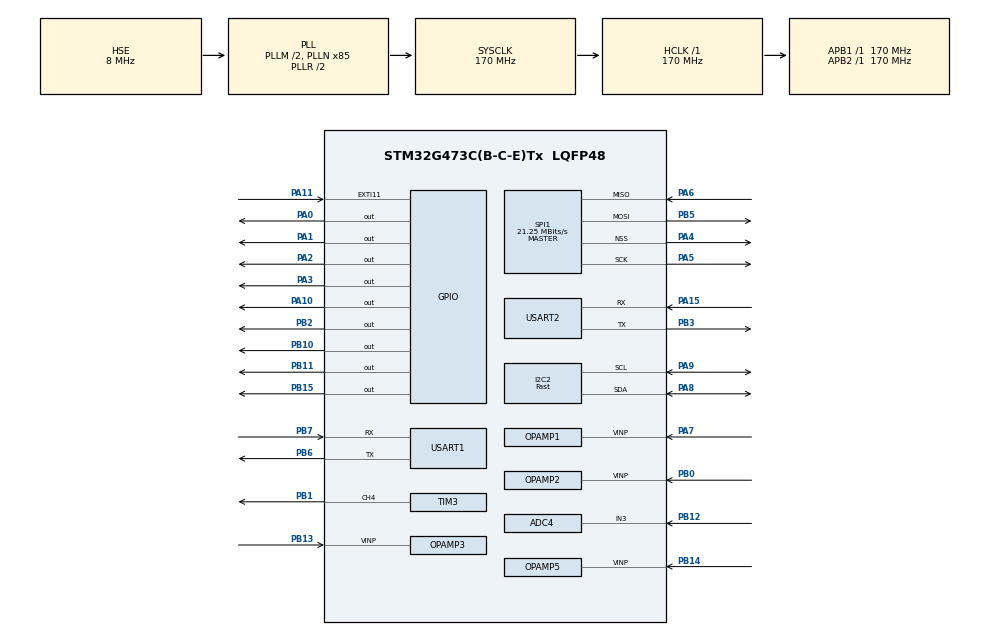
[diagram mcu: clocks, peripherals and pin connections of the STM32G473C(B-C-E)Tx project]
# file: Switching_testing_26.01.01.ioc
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ADC1.Channel-2\#ChannelRegularConversion=ADC_CHANNEL_VOPAMP1
ADC1.ContinuousConvMode=ENABLE
ADC1.DMAContinuousRequests=ENABLE
ADC1.EOCSelection=ADC_EOC_SEQ_CONV
ADC1.NbrOfConversion=1
ADC1.NbrOfConversionFlag=1
ADC1.OffsetNumber-2\#ChannelRegularConversion=ADC_OFFSET_NONE
ADC1.Overrun=ADC_OVR_DATA_OVERWRITTEN
ADC1.OversamplingMode=ENABLE
ADC1.Rank-2\#ChannelRegularConversion=1
ADC1.Ratio=ADC_OVERSAMPLING_RATIO_4
ADC1.RightBitShift=ADC_RIGHTBITSHIFT_NONE
ADC1.SamplingTime-2\#ChannelRegularConversion=ADC_SAMPLETIME_640CYCLES_5
ADC1.master=1
ADC2.Channel-4\#ChannelRegularConversion=ADC_CHANNEL_VOPAMP2
ADC2.ContinuousConvMode=ENABLE
ADC2.DMAContinuousRequests=ENABLE
ADC2.NbrOfConversionFlag=1
ADC2.OffsetNumber-4\#ChannelRegularConversion=ADC_OFFSET_NONE
ADC2.Overrun=ADC_OVR_DATA_OVERWRITTEN
ADC2.OversamplingMode=ENABLE
ADC2.Rank-4\#ChannelRegularConversion=1
ADC2.Ratio=ADC_OVERSAMPLING_RATIO_4
ADC2.RightBitShift=ADC_RIGHTBITSHIFT_NONE
ADC2.SamplingTime-4\#ChannelRegularConversion=ADC_SAMPLETIME_640CYCLES_5
ADC3.Channel-1\#ChannelRegularConversion=ADC_CHANNEL_VOPAMP3_ADC3
ADC3.ContinuousConvMode=ENABLE
ADC3.DMAContinuousRequests=DISABLE
ADC3.NbrOfConversionFlag=1
ADC3.OffsetNumber-1\#ChannelRegularConversion=ADC_OFFSET_NONE
ADC3.Rank-1\#ChannelRegularConversion=1
ADC3.SamplingTime-1\#ChannelRegularConversion=ADC_SAMPLETIME_24CYCLES_5
ADC3.master=1
ADC4.Channel-0\#ChannelRegularConversion=ADC_CHANNEL_3
ADC4.NbrOfConversionFlag=1
ADC4.OffsetNumber-0\#ChannelRegularConversion=ADC_OFFSET_NONE
ADC4.Rank-0\#ChannelRegularConversion=1
ADC4.SamplingTime-0\#ChannelRegularConversion=ADC_SAMPLETIME_24CYCLES_5
ADC5.Channel-0\#ChannelRegularConversion=ADC_CHANNEL_VOPAMP5
ADC5.ContinuousConvMode=ENABLE
ADC5.NbrOfConversion=1
ADC5.NbrOfConversionFlag=1
ADC5.OffsetNumber-0\#ChannelRegularConversion=ADC_OFFSET_NONE
ADC5.Rank-0\#ChannelRegularConversion=1
ADC5.SamplingTime-0\#ChannelRegularConversion=ADC_SAMPLETIME_24CYCLES_5
Dma.ADC1.4.Direction=DMA_PERIPH_TO_MEMORY
Dma.ADC1.4.EventEnable=DISABLE
Dma.ADC1.4.Instance=DMA1_Channel1
Dma.ADC1.4.MemDataAlignment=DMA_MDATAALIGN_HALFWORD
Dma.ADC1.4.MemInc=DMA_MINC_ENABLE
Dma.ADC1.4.Mode=DMA_NORMAL
Dma.ADC1.4.PeriphDataAlignment=DMA_PDATAALIGN_HALFWORD
Dma.ADC1.4.PeriphInc=DMA_PINC_DISABLE
Dma.ADC1.4.Polarity=HAL_DMAMUX_REQ_GEN_RISING
Dma.ADC1.4.Priority=DMA_PRIORITY_LOW
Dma.ADC1.4.RequestNumber=1
Dma.ADC1.4.SignalID=NONE
Dma.ADC1.4.SyncEnable=DISABLE
Dma.ADC1.4.SyncPolarity=HAL_DMAMUX_SYNC_NO_EVENT
Dma.ADC1.4.SyncRequestNumber=1
Dma.ADC1.4.SyncSignalID=NONE
Dma.ADC2.1.Direction=DMA_PERIPH_TO_MEMORY
Dma.ADC2.1.EventEnable=DISABLE
Dma.ADC2.1.Instance=DMA1_Channel2
Dma.ADC2.1.MemDataAlignment=DMA_MDATAALIGN_HALFWORD
Dma.ADC2.1.MemInc=DMA_MINC_ENABLE
Dma.ADC2.1.Mode=DMA_NORMAL
Dma.ADC2.1.PeriphDataAlignment=DMA_PDATAALIGN_HALFWORD
Dma.ADC2.1.PeriphInc=DMA_PINC_DISABLE
Dma.ADC2.1.Polarity=HAL_DMAMUX_REQ_GEN_RISING
Dma.ADC2.1.Priority=DMA_PRIORITY_LOW
Dma.ADC2.1.RequestNumber=1
Dma.ADC2.1.SignalID=NONE
Dma.ADC2.1.SyncEnable=DISABLE
Dma.ADC2.1.SyncPolarity=HAL_DMAMUX_SYNC_NO_EVENT
Dma.ADC2.1.SyncRequestNumber=1
Dma.ADC2.1.SyncSignalID=NONE
Dma.ADC3.2.Direction=DMA_PERIPH_TO_MEMORY
Dma.ADC3.2.EventEnable=DISABLE
Dma.ADC3.2.Instance=DMA1_Channel3
Dma.ADC3.2.MemDataAlignment=DMA_MDATAALIGN_HALFWORD
Dma.ADC3.2.MemInc=DMA_MINC_ENABLE
Dma.ADC3.2.Mode=DMA_NORMAL
Dma.ADC3.2.PeriphDataAlignment=DMA_PDATAALIGN_HALFWORD
Dma.ADC3.2.PeriphInc=DMA_PINC_DISABLE
Dma.ADC3.2.Polarity=HAL_DMAMUX_REQ_GEN_RISING
Dma.ADC3.2.Priority=DMA_PRIORITY_LOW
Dma.ADC3.2.RequestNumber=1
Dma.ADC3.2.SignalID=NONE
Dma.ADC3.2.SyncEnable=DISABLE
Dma.ADC3.2.SyncPolarity=HAL_DMAMUX_SYNC_NO_EVENT
Dma.ADC3.2.SyncRequestNumber=1
Dma.ADC3.2.SyncSignalID=NONE
Dma.ADC5.3.Direction=DMA_PERIPH_TO_MEMORY
Dma.ADC5.3.EventEnable=DISABLE
Dma.ADC5.3.Instance=DMA1_Channel5
Dma.ADC5.3.MemDataAlignment=DMA_MDATAALIGN_HALFWORD
Dma.ADC5.3.MemInc=DMA_MINC_ENABLE
Dma.ADC5.3.Mode=DMA_NORMAL
Dma.ADC5.3.PeriphDataAlignment=DMA_PDATAALIGN_HALFWORD
Dma.ADC5.3.PeriphInc=DMA_PINC_DISABLE
Dma.ADC5.3.Polarity=HAL_DMAMUX_REQ_GEN_RISING
Dma.ADC5.3.Priority=DMA_PRIORITY_LOW
Dma.ADC5.3.RequestNumber=1
Dma.ADC5.3.SignalID=NONE
Dma.ADC5.3.SyncEnable=DISABLE
Dma.ADC5.3.SyncPolarity=HAL_DMAMUX_SYNC_NO_EVENT
Dma.ADC5.3.SyncRequestNumber=1
Dma.ADC5.3.SyncSignalID=NONE
Dma.I2C2_RX.0.Direction=DMA_PERIPH_TO_MEMORY
Dma.I2C2_RX.0.EventEnable=DISABLE
Dma.I2C2_RX.0.Instance=DMA2_Channel1
Dma.I2C2_RX.0.MemDataAlignment=DMA_MDATAALIGN_BYTE
Dma.I2C2_RX.0.MemInc=DMA_MINC_ENABLE
Dma.I2C2_RX.0.Mode=DMA_NORMAL
Dma.I2C2_RX.0.PeriphDataAlignment=DMA_PDATAALIGN_BYTE
Dma.I2C2_RX.0.PeriphInc=DMA_PINC_DISABLE
Dma.I2C2_RX.0.Polarity=HAL_DMAMUX_REQ_GEN_RISING
Dma.I2C2_RX.0.Priority=DMA_PRIORITY_LOW
Dma.I2C2_RX.0.RequestNumber=1
Dma.I2C2_RX.0.SignalID=NONE
Dma.I2C2_RX.0.SyncEnable=DISABLE
Dma.I2C2_RX.0.SyncPolarity=HAL_DMAMUX_SYNC_NO_EVENT
Dma.I2C2_RX.0.SyncRequestNumber=1
Dma.I2C2_RX.0.SyncSignalID=NONE
Dma.Request0=I2C2_RX
Dma.Request1=ADC2
Dma.Request2=ADC3
Dma.Request3=ADC5
Dma.Request4=ADC1
Dma.Request5=USART2_TX
Dma.USART2_TX.5.Direction=DMA_MEMORY_TO_PERIPH
Dma.USART2_TX.5.EventEnable=DISABLE
Dma.USART2_TX.5.Instance=DMA1_Channel4
Dma.USART2_TX.5.MemDataAlignment=DMA_MDATAALIGN_BYTE
Dma.USART2_TX.5.MemInc=DMA_MINC_ENABLE
Dma.USART2_TX.5.Mode=DMA_NORMAL
Dma.USART2_TX.5.PeriphDataAlignment=DMA_PDATAALIGN_BYTE
Dma.USART2_TX.5.PeriphInc=DMA_PINC_DISABLE
Dma.USART2_TX.5.Polarity=HAL_DMAMUX_REQ_GEN_RISING
Dma.USART2_TX.5.Priority=DMA_PRIORITY_LOW
Dma.USART2_TX.5.RequestNumber=1
Dma.USART2_TX.5.SignalID=NONE
Dma.USART2_TX.5.SyncEnable=DISABLE
Dma.USART2_TX.5.SyncPolarity=HAL_DMAMUX_SYNC_NO_EVENT
Dma.USART2_TX.5.SyncRequestNumber=1
Dma.USART2_TX.5.SyncSignalID=NONE
I2C2.I2C_Speed_Mode=I2C_Fast
I2C2.Speed=100
I2C2.Timing=0x406248FF
Mcu.Family=STM32G4
Mcu.Name=STM32G473C(B-C-E)Tx
Mcu.Package=LQFP48
NVIC.DMA1_Channel1_IRQn=true\:0\:0\:false\:false\:true\:false\:true\:true
NVIC.DMA1_Channel2_IRQn=true\:0\:0\:false\:false\:true\:false\:true\:true
NVIC.DMA1_Channel3_IRQn=true\:0\:0\:false\:false\:true\:false\:true\:true
NVIC.DMA1_Channel4_IRQn=true\:0\:0\:false\:false\:true\:false\:true\:true
NVIC.DMA1_Channel5_IRQn=true\:0\:0\:false\:false\:true\:false\:true\:true
NVIC.DMA2_Channel1_IRQn=true\:0\:0\:false\:false\:true\:false\:true\:true
NVIC.EXTI15_10_IRQn=true\:1\:0\:true\:false\:true\:true\:true\:true
NVIC.I2C2_ER_IRQn=true\:0\:0\:false\:false\:true\:true\:true\:true
NVIC.I2C2_EV_IRQn=true\:0\:0\:false\:false\:true\:true\:true\:true
NVIC.PriorityGroup=NVIC_PRIORITYGROUP_4
NVIC.TIM6_DAC_IRQn=true\:0\:0\:false\:false\:true\:true\:true\:true
NVIC.TIM7_DAC_IRQn=true\:0\:0\:false\:false\:true\:true\:true\:true
OPAMP1.PgaGain=OPAMP_PGA_GAIN_2_OR_MINUS_1
OPAMP1.PowerMode=OPAMP_POWERMODE_HIGHSPEED
OPAMP2.PowerMode=OPAMP_POWERMODE_HIGHSPEED
OPAMP3.PgaGain=OPAMP_PGA_GAIN_2_OR_MINUS_1
OPAMP3.PowerMode=OPAMP_POWERMODE_HIGHSPEED
OPAMP5.PgaGain=OPAMP_PGA_GAIN_2_OR_MINUS_1
OPAMP5.PowerMode=OPAMP_POWERMODE_HIGHSPEED
PA0.PinState=GPIO_PIN_RESET
PA0.Signal=GPIO_Output
PA1.Signal=GPIO_Output
PA10.Signal=GPIO_Output
PA11.GPIO_ModeDefaultEXTI=GPIO_MODE_IT_FALLING
PA11.GPIO_PuPd=GPIO_NOPULL
PA11.Signal=GPXTI11
PA13.Mode=Serial_Wire
PA13.Signal=SYS_JTMS-SWDIO
PA14.Mode=Serial_Wire
PA14.Signal=SYS_JTCK-SWCLK
PA15.Mode=Asynchronous
PA15.Signal=USART2_RX
PA2.Signal=GPIO_Output
PA3.Signal=GPIO_Output
PA4.Mode=NSS_Signal_Hard_Output
PA4.Signal=SPI1_NSS
PA5.Mode=Full_Duplex_Master
PA5.Signal=SPI1_SCK
PA6.Mode=Full_Duplex_Master
PA6.Signal=SPI1_MISO
PA7.Mode=PGA_Internally_Connected
PA7.Signal=OPAMP1_VINP
PA8.Mode=I2C
PA8.Signal=I2C2_SDA
PA9.Mode=I2C
PA9.Signal=I2C2_SCL
PB0.Mode=PGA_Internally_Connected
PB0.Signal=OPAMP2_VINP
PB1.GPIO_Speed=GPIO_SPEED_FREQ_VERY_HIGH
PB1.Signal=S_TIM3_CH4
PB10.Signal=GPIO_Output
PB11.Signal=GPIO_Output
PB12.Mode=IN3-Single-Ended
PB12.Signal=ADC4_IN3
PB13.Mode=PGA_Internally_Connected
PB13.Signal=OPAMP3_VINP
PB14.Mode=PGA_Internally_Connected
PB14.Signal=OPAMP5_VINP
PB15.Signal=GPIO_Output
PB2.Signal=GPIO_Output
PB3.Mode=Asynchronous
PB3.Signal=USART2_TX
PB5.Mode=Full_Duplex_Master
PB5.Signal=SPI1_MOSI
PB6.Mode=Asynchronous
PB6.Signal=USART1_TX
PB7.Mode=Asynchronous
PB7.Signal=USART1_RX
PF0-OSC_IN.Mode=HSE-External-Oscillator
PF0-OSC_IN.Signal=RCC_OSC_IN
PF1-OSC_OUT.Mode=HSE-External-Oscillator
PF1-OSC_OUT.Signal=RCC_OSC_OUT
ProjectManager.HeapSize=0x200
ProjectManager.StackSize=0x400
ProjectManager.TargetToolchain=STM32CubeIDE
RCC.ADC12Freq_Value=170000000
RCC.ADC345Freq_Value=170000000
RCC.AHBFreq_Value=170000000
RCC.APB1Freq_Value=170000000
RCC.APB1TimFreq_Value=170000000
RCC.APB2Freq_Value=170000000
RCC.APB2TimFreq_Value=170000000
RCC.CortexFreq_Value=170000000
RCC.EXTERNAL_CLOCK_VALUE=12288000
RCC.HCLKFreq_Value=170000000
RCC.HSE_VALUE=8000000
RCC.HSI48_VALUE=48000000
RCC.HSI_VALUE=16000000
RCC.LSE_VALUE=32768
RCC.PLLM=RCC_PLLM_DIV2
RCC.PLLN=85
RCC.PLLSourceVirtual=RCC_PLLSOURCE_HSE
RCC.SYSCLKFreq_VALUE=170000000
RCC.SYSCLKSource=RCC_SYSCLKSOURCE_PLLCLK
RCC.USBFreq_Value=170000000
RCC.VCOOutputFreq_Value=340000000
SH.S_TIM3_CH4.0=TIM3_CH4,PWM Generation4 CH4
SPI1.BaudRatePrescaler=SPI_BAUDRATEPRESCALER_8
SPI1.CalculateBaudRate=21.25 MBits/s
SPI1.DataSize=SPI_DATASIZE_8BIT
SPI1.Direction=SPI_DIRECTION_2LINES
SPI1.Mode=SPI_MODE_MASTER
SPI1.VirtualNSS=VM_NSSHARD
SPI1.VirtualType=VM_MASTER
TIM3.Channel-PWM\ Generation4\ CH4=TIM_CHANNEL_4
TIM3.PeriodNoDither=16
TIM3.PulseNoDither_4=8
TIM6.Prescaler=169
TIM7.Prescaler=169
USART1.VirtualMode-Asynchronous=VM_ASYNC
USART2.VirtualMode-Asynchronous=VM_ASYNC
VP_ADC1_OPAMP_INTERNAL1.Mode=IN-OPAMP1
VP_ADC2_OPAMP_INTERNAL2.Mode=IN-OPAMP2
VP_ADC3_OPAMP_INTERNAL3.Mode=IN-OPAMP3
VP_ADC5_OPAMP_INTERNAL5.Mode=IN-OPAMP5
VP_SYS_VS_DBSignals.Mode=DisableDeadBatterySignals
VP_TIM6_VS_ClockSourceINT.Mode=Enable_Timer
VP_TIM7_VS_ClockSourceINT.Mode=Enable_Timer
board=custom

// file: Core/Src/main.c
/* USER CODE BEGIN Header */
/**
  ******************************************************************************
  * @file           : main.c
  * @brief          : Main program body
  ******************************************************************************
  * @attention
  *
  * Copyright (c) 2025 STMicroelectronics.
  * All rights reserved.
  *
  * This software is licensed under terms that can be found in the LICENSE file
  * in the root directory of this software component.
  * If no LICENSE file comes with this software, it is provided AS-IS.
  *
  ******************************************************************************
  */
/* USER CODE END Header */
#include "main.h"
#include "adc.h"
#include "dma.h"
#include "i2c.h"
#include "opamp.h"
#include "spi.h"
#include "tim.h"
#include "usart.h"
#include "gpio.h"

/* USER CODE BEGIN Includes */
#include <stdio.h>
#include <string.h>
#include <TDM.h>
/* USER CODE END Includes */

/* USER CODE BEGIN PV */
volatile uint8_t uart_tx_busy = 0;
extern volatile TDM_State_t tdm_state;

uint32_t idle_counter = 0;//테스트용 삭제
uint32_t last_tick = 0;//테스트용 삭제

/* USER CODE END PV */

void SystemClock_Config(void);

int main(void)
{

  /* MCU Configuration--------------------------------------------------------*/

  /* Reset of all peripherals, Initializes the Flash interface and the Systick. */
  HAL_Init();

  /* Configure the system clock */
  SystemClock_Config();

  /* Initialize all configured peripherals */
  MX_GPIO_Init();
  MX_DMA_Init();
  MX_ADC3_Init();
  MX_USART1_UART_Init();
  MX_USART2_UART_Init();
  MX_ADC5_Init();
  MX_OPAMP1_Init();
  MX_OPAMP3_Init();
  MX_OPAMP5_Init();
  MX_ADC1_Init();
  MX_ADC2_Init();
  MX_ADC4_Init();
  MX_I2C2_Init();
  MX_OPAMP2_Init();
  MX_SPI1_Init();
  MX_TIM3_Init();
  MX_TIM6_Init();
  MX_TIM7_Init();
  /* USER CODE BEGIN 2 */
  HAL_GPIO_WritePin(GPIOA, GPIO_PIN_0, GPIO_PIN_SET); //전원 LED

  HAL_ADCEx_Calibration_Start(&hadc1, ADC_SINGLE_ENDED);
  HAL_ADCEx_Calibration_Start(&hadc2, ADC_SINGLE_ENDED);
  HAL_ADCEx_Calibration_Start(&hadc3, ADC_SINGLE_ENDED);
  HAL_ADCEx_Calibration_Start(&hadc5, ADC_SINGLE_ENDED);
  HAL_OPAMP_SelfCalibrate(&hopamp1);
  HAL_OPAMP_SelfCalibrate(&hopamp2);
  HAL_OPAMP_SelfCalibrate(&hopamp3);
  HAL_OPAMP_SelfCalibrate(&hopamp5);
  HAL_OPAMP_Start(&hopamp1);
  HAL_OPAMP_Start(&hopamp2);
  HAL_OPAMP_Start(&hopamp3);
  HAL_OPAMP_Start(&hopamp5);

  TDM_Init();

  printf("--- System Boot ---\r\n");

  /* USER CODE END 2 */

  /* Infinite loop */
  while (1)
  {

    /* USER CODE BEGIN 3 */

	  if(g_SensorData.update_flag == 1 && (uart_tx_busy == 0)){
		  g_SensorData.update_flag = 0;
		  uart_tx_busy = 1;
//		  TDM_Print_Calibrated_Data();
//		  TDM_Print_Calibrated_Data3();
//		  TDM_Print_Calibrated_Data4();
		  TDM_Print_Filter_Comparison();

		  uart_tx_busy = 0;
	  }

	  //메인 코어 점유율 검사////////////////////////////////////////
//	  idle_counter++;
//	  if (HAL_GetTick() - last_tick >= 1000) {
//		  last_tick = HAL_GetTick();
//		  printf("CPU Idle Count: %lu\r\n", idle_counter);
//		  idle_counter = 0;
//	  }
//	  if (g_SensorData.update_flag == 1) {
//		  g_SensorData.update_flag = 0;
//	  }
	  ////////////////////////////////////////////////////////////

  }
  /* USER CODE END 3 */
}

void SystemClock_Config(void)
{
  RCC_OscInitTypeDef RCC_OscInitStruct = {0};
  RCC_ClkInitTypeDef RCC_ClkInitStruct = {0};

  /** Configure the main internal regulator output voltage
  */
  HAL_PWREx_ControlVoltageScaling(PWR_REGULATOR_VOLTAGE_SCALE1_BOOST);

  /** Initializes the RCC Oscillators according to the specified parameters
  * in the RCC_OscInitTypeDef structure.
  */
  RCC_OscInitStruct.OscillatorType = RCC_OSCILLATORTYPE_HSE;
  RCC_OscInitStruct.HSEState = RCC_HSE_ON;
  RCC_OscInitStruct.PLL.PLLState = RCC_PLL_ON;
  RCC_OscInitStruct.PLL.PLLSource = RCC_PLLSOURCE_HSE;
  RCC_OscInitStruct.PLL.PLLM = RCC_PLLM_DIV2;
  RCC_OscInitStruct.PLL.PLLN = 85;
  RCC_OscInitStruct.PLL.PLLP = RCC_PLLP_DIV2;
  RCC_OscInitStruct.PLL.PLLQ = RCC_PLLQ_DIV2;
  RCC_OscInitStruct.PLL.PLLR = RCC_PLLR_DIV2;
  if (HAL_RCC_OscConfig(&RCC_OscInitStruct) != HAL_OK)
  {
    Error_Handler();
  }

  /** Initializes the CPU, AHB and APB buses clocks
  */
  RCC_ClkInitStruct.ClockType = RCC_CLOCKTYPE_HCLK|RCC_CLOCKTYPE_SYSCLK
                              |RCC_CLOCKTYPE_PCLK1|RCC_CLOCKTYPE_PCLK2;
  RCC_ClkInitStruct.SYSCLKSource = RCC_SYSCLKSOURCE_PLLCLK;
  RCC_ClkInitStruct.AHBCLKDivider = RCC_SYSCLK_DIV1;
  RCC_ClkInitStruct.APB1CLKDivider = RCC_HCLK_DIV1;
  RCC_ClkInitStruct.APB2CLKDivider = RCC_HCLK_DIV1;

  if (HAL_RCC_ClockConfig(&RCC_ClkInitStruct, FLASH_LATENCY_4) != HAL_OK)
  {
    Error_Handler();
  }
}

/* USER CODE BEGIN 4 */

int _write(int file, char *ptr, int len) {
    HAL_UART_Transmit(&huart2, (uint8_t *)ptr, len, 10);
//    HAL_UART_Transmit_DMA(&huart2, (uint8_t *)ptr, len);
    return len;
}

/* 1. LDC 인터럽트 (PA11 -> EXTI15_10) */
void HAL_GPIO_EXTI_Callback(uint16_t GPIO_Pin) {
    if (GPIO_Pin == GPIO_PIN_11) {
//        TDM_Start_Sequence_From_ISR();
    }
}

/* 2. 타이머 인터럽트 (TIM6) */
void HAL_TIM_PeriodElapsedCallback(TIM_HandleTypeDef *htim) {
	if (htim->Instance == TIM6) {
//		TDM_Handle_Timer_ISR();
		TDM_Handle_Timer_ADC_ISR();
	}
	else if (htim->Instance == TIM7) {
		TDM_Handle_Timer_Main_ISR();
	}
}

/* 3. I2C DMA 완료 인터럽트 */
void HAL_I2C_MemRxCpltCallback(I2C_HandleTypeDef *hi2c) {
    if (hi2c->Instance == I2C2) {
        TDM_Handle_I2C_RxCplt();
    }
}

// I2C 에러 처리 그냥 없애주는 함수
void HAL_I2C_ErrorCallback(I2C_HandleTypeDef *hi2c) {
	if (hi2c->Instance == I2C2) {
	        // 1. 에러가 났지만, TDM 로직이 멈추지 않게 하기 위해
	        //    마치 통신이 끝난 것처럼 처리해줍니다.

	        // 외부 변수 가져오기 (main.c 위에 선언 안 되어 있으면 extern 필요)
	        extern volatile bool flag_i2c_done;
	        extern volatile bool flag_adc_seq_done;
	        extern volatile TDM_State_t tdm_state;

	        flag_i2c_done = true; // "일단 온 걸로 치자" (강제 플래그 설정)

	        // 2. 만약 ADC 쪽이 이미 끝나서 기다리고 있었다면? -> 문 닫고 퇴근(IDLE) 시켜줌
	        if (flag_adc_seq_done) {
	            // 이번 데이터는 에러라서 신뢰할 수 없지만, 시스템이 멈추는 것보단 낫습니다.
	            // g_SensorData.update_flag = 1; (선택사항: 에러 데이터도 보낼 거면 주석 해제)

	            tdm_state = TDM_STATE_IDLE; // [핵심] 상태를 풀어줘서 다음 인터럽트를 받을 수 있게 함
	        }

	        // (선택) 디버깅용: LED를 살짝 깜빡여서 "아, 방금 에러 났었네"라고 알림
	        // HAL_GPIO_TogglePin(GPIOA, GPIO_PIN_0);
	    }
}

/* 4. UART DMA 완료 인터럽트 */
void HAL_UART_TxCpltCallback(UART_HandleTypeDef *huart)
{
  if (huart->Instance == USART2) {
    uart_tx_busy = 0; // 전송 완료! 이제 다음 데이터 보낼 수 있음
  }
}

/* USER CODE END 4 */

void Error_Handler(void)
{
  __disable_irq();
  while (1)
  {
  }
}
